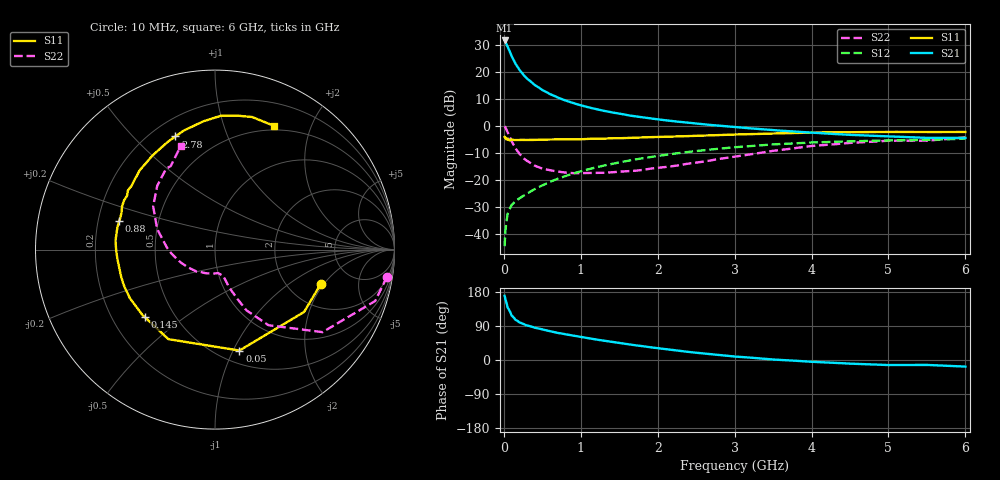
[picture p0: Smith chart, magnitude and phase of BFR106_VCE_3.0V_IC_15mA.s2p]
! Infineon Technologies  Discrete & RF Semiconductors
! BFR106
! VCE =  3.0 V,  IC =  15 mA
! Common Emitter S-Parameters:  Nov 2015
# GHz  S  MA  R  50
!  f  S11  S21  S12  S22
! GHz  MAG  ANG  MAG  ANG  MAG  ANG  MAG  ANG
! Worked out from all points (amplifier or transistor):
!   210 points, 10 MHz to 6 GHz, reference 50 ohm
!   highest |S21| = 31.5 dB at 10 MHz (marker M1)
!   |S21| within 3 dB of that: start of sweep to 60.45 MHz
!   unconditionally stable (mu >= 1): 407.5 MHz to 2.212 GHz; 5.197 GHz to end of sweep
!   at 185 MHz: K = 0.69, MSG = 24.4 dB, |S12| = -27.3 dB
!   at 1.52 GHz: K = 1.07, MAG = 7.3 dB, |S12| = -13.5 dB
!   at 6 GHz: K = 1.01, MAG = -0.4 dB, |S12| = -4.8 dB
!   S11 on the Smith chart (normalised r, x): 10 MHz: 2.99, -1.87; 50 MHz: 0.63, -1.06; 145 MHz: 0.34, -0.36; 880 MHz: 0.29, +0.13; 2.78 GHz: 0.29, +0.67; 6 GHz: 0.45, +1.48
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0.01  0.6196 -18.1  37.66 169.3  0.0059 84.6  0.9701 -9.0
0.02  0.6059 -35.0  36.07 160.4  0.011 75.1  0.9372 -17.8
0.05  0.5786 -76.4  28.84 137.9  0.0237 60.6  0.7554 -37.5
0.1  0.5626 -117.5  19.46 117.6  0.0339 50.8  0.5163 -54.7
0.145  0.5427 -136.1  14.55 107.8  0.0392 49.2  0.3946 -61.6
0.15  0.5441 -138.2  14.04 106.3  0.0398 49.0  0.3815 -62.6
0.2  0.546 -150.2  10.93 99.8  0.0449 51.4  0.3054 -65.4
0.24  0.5453 -156.8  9.257 95.9  0.0489 52.6  0.2636 -67.2
0.3  0.544 -164.6  7.456 91.2  0.0552 55.2  0.2237 -69.4
0.4  0.5457 -173.3  5.676 85.4  0.0668 58.2  0.1824 -71.0
0.5  0.5504 -179.3  4.566 80.4  0.0783 60.4  0.1601 -72.0
0.6  0.5566 174.9  3.841 75.8  0.0911 62.1  0.1495 -74.1
0.7  0.5564 170.4  3.322 71.5  0.104 62.8  0.1418 -77.5
0.88  0.5565 163.4  2.676 65.0  0.1275 63.0  0.1326 -82.6
1.02  0.5619 157.9  2.337 60.1  0.1455 62.8  0.1327 -88.1
1.4  0.587 145.7  1.759 48.0  0.1956 60.0  0.1376 -105.4
2.02  0.6169 128.4  1.299 30.7  0.2777 52.7  0.167 -137.5
2.78  0.6677 109.3  1.004 13.5  0.3728 41.7  0.2399 -173.7
3.1  0.6903 102.8  0.917 7.8  0.4083 36.5  0.2795 173.8
4.1  0.7483 85.9  0.727 -5.6  0.4928 20.5  0.4307 142.2
5.1  0.7654 73.1  0.624 -13.2  0.5356 7.0  0.5266 120.5
6  0.7646 64.7  0.593 -17.4  0.5748 -3.2  0.6078 108.3
